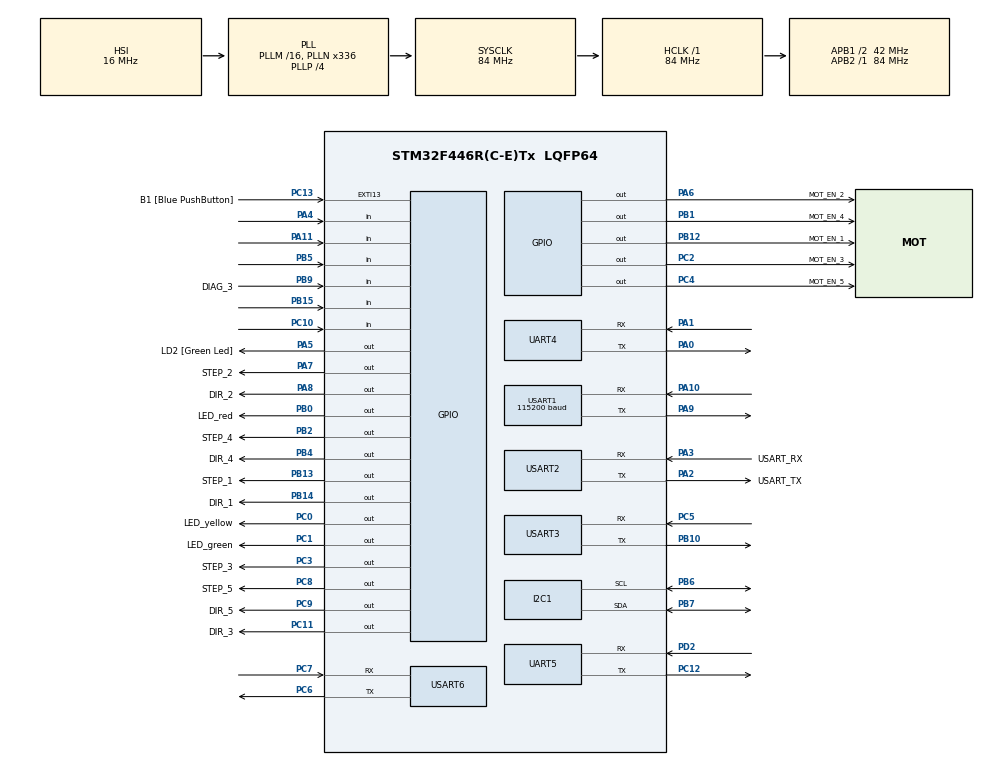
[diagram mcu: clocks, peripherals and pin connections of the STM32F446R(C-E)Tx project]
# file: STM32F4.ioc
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Mcu.Family=STM32F4
Mcu.Name=STM32F446R(C-E)Tx
Mcu.Package=LQFP64
NVIC.EXTI15_10_IRQn=true\:0\:0\:false\:false\:true\:true\:true\:true
NVIC.PriorityGroup=NVIC_PRIORITYGROUP_0
NVIC.TIM1_BRK_TIM9_IRQn=true\:0\:0\:false\:false\:true\:true\:true\:true
NVIC.TIM1_UP_TIM10_IRQn=true\:0\:0\:false\:false\:true\:true\:true\:true
NVIC.TIM3_IRQn=true\:0\:0\:false\:false\:true\:true\:true\:true
NVIC.TIM4_IRQn=true\:0\:0\:false\:false\:true\:true\:true\:true
NVIC.TIM6_DAC_IRQn=true\:0\:0\:false\:false\:true\:true\:true\:true
NVIC.TIM7_IRQn=true\:0\:0\:false\:false\:true\:true\:true\:true
NVIC.TIM8_BRK_TIM12_IRQn=true\:0\:0\:false\:false\:true\:true\:true\:true
NVIC.TIM8_CC_IRQn=true\:0\:0\:false\:false\:true\:true\:true\:true
NVIC.TIM8_UP_TIM13_IRQn=true\:0\:0\:false\:false\:true\:true\:true\:true
NVIC.USART2_IRQn=true\:0\:0\:false\:false\:true\:true\:true\:true
PA0-WKUP.Mode=Asynchronous
PA0-WKUP.Signal=UART4_TX
PA1.Mode=Asynchronous
PA1.Signal=UART4_RX
PA10.Mode=Asynchronous
PA10.Signal=USART1_RX
PA11.Signal=GPIO_Input
PA13.GPIO_Label=TMS
PA13.Mode=Serial_Wire
PA13.Signal=SYS_JTMS-SWDIO
PA14.GPIO_Label=TCK
PA14.Mode=Serial_Wire
PA14.Signal=SYS_JTCK-SWCLK
PA2.GPIO_Label=USART_TX
PA2.GPIO_ModeDefaultOD=GPIO_MODE_AF_OD
PA2.GPIO_PuPd=GPIO_NOPULL
PA2.Mode=Asynchronous
PA2.Signal=USART2_TX
PA3.GPIO_Label=USART_RX
PA3.Mode=Asynchronous
PA3.Signal=USART2_RX
PA4.Signal=GPIO_Input
PA5.GPIO_Label=LD2 [Green Led]
PA5.Signal=GPIO_Output
PA6.GPIO_Label=MOT_EN_2
PA6.Signal=GPIO_Output
PA7.GPIO_Label=STEP_2
PA7.Signal=GPIO_Output
PA8.GPIO_Label=DIR_2
PA8.Signal=GPIO_Output
PA9.GPIO_PuPd=GPIO_NOPULL
PA9.Mode=Asynchronous
PA9.Signal=USART1_TX
PB0.GPIO_Label=LED_red
PB0.Signal=GPIO_Output
PB1.GPIO_Label=MOT_EN_4
PB1.Signal=GPIO_Output
PB10.Mode=Asynchronous
PB10.Signal=USART3_TX
PB12.GPIO_Label=MOT_EN_1
PB12.Signal=GPIO_Output
PB13.GPIO_Label=STEP_1
PB13.Signal=GPIO_Output
PB14.GPIO_Label=DIR_1
PB14.Signal=GPIO_Output
PB15.Signal=GPIO_Input
PB2.GPIO_Label=STEP_4
PB2.Signal=GPIO_Output
PB3.GPIO_Label=SWO
PB3.Signal=SYS_JTDO-SWO
PB4.GPIO_Label=DIR_4
PB4.Signal=GPIO_Output
PB5.Signal=GPIO_Input
PB6.Mode=I2C
PB6.Signal=I2C1_SCL
PB7.Mode=I2C
PB7.Signal=I2C1_SDA
PB9.GPIO_Label=DIAG_3
PB9.Signal=GPIO_Input
PC0.GPIO_Label=LED_yellow
PC0.Signal=GPIO_Output
PC1.GPIO_Label=LED_green
PC1.Signal=GPIO_Output
PC10.Signal=GPIO_Input
PC11.GPIO_Label=DIR_3
PC11.Signal=GPIO_Output
PC12.Mode=Asynchronous
PC12.Signal=UART5_TX
PC13.GPIO_Label=B1 [Blue PushButton]
PC13.GPIO_ModeDefaultEXTI=GPIO_MODE_IT_RISING
PC13.Signal=GPXTI13
PC14-OSC32_IN.Mode=LSE-External-Oscillator
PC14-OSC32_IN.Signal=RCC_OSC32_IN
PC15-OSC32_OUT.Mode=LSE-External-Oscillator
PC15-OSC32_OUT.Signal=RCC_OSC32_OUT
PC2.GPIO_Label=MOT_EN_3
PC2.Signal=GPIO_Output
PC3.GPIO_Label=STEP_3
PC3.Signal=GPIO_Output
PC4.GPIO_Label=MOT_EN_5
PC4.Signal=GPIO_Output
PC5.Mode=Asynchronous
PC5.Signal=USART3_RX
PC6.Mode=Asynchronous
PC6.Signal=USART6_TX
PC7.Mode=Asynchronous
PC7.Signal=USART6_RX
PC8.GPIO_Label=STEP_5
PC8.Signal=GPIO_Output
PC9.GPIO_Label=DIR_5
PC9.Signal=GPIO_Output
PD2.Mode=Asynchronous
PD2.Signal=UART5_RX
PH0-OSC_IN.Mode=HSE-External-Oscillator
PH0-OSC_IN.Signal=RCC_OSC_IN
PH1-OSC_OUT.Mode=HSE-External-Oscillator
PH1-OSC_OUT.Signal=RCC_OSC_OUT
ProjectManager.HeapSize=0x200
ProjectManager.StackSize=0x400
ProjectManager.TargetToolchain=STM32CubeIDE
RCC.48MHZClocksFreq_Value=84000000
RCC.AHBFreq_Value=84000000
RCC.APB1CLKDivider=RCC_HCLK_DIV2
RCC.APB1Freq_Value=42000000
RCC.APB1TimFreq_Value=84000000
RCC.APB2Freq_Value=84000000
RCC.APB2TimFreq_Value=84000000
RCC.CortexFreq_Value=84000000
RCC.FLatency-AdvancedSettings=FLASH_LATENCY_2
RCC.HCLKFreq_Value=84000000
RCC.HSE_VALUE=8000000
RCC.HSI_VALUE=16000000
RCC.PLLN=336
RCC.PLLP=RCC_PLLP_DIV4
RCC.SYSCLKFreq_VALUE=84000000
RCC.SYSCLKSource=RCC_SYSCLKSOURCE_PLLCLK
RCC.USBFreq_Value=168000000
RCC.VCOOutputFreq_Value=336000000
TIM1.Period=999
TIM1.Prescaler=83
TIM10.Period=999
TIM10.Prescaler=839
TIM12.Channel-Output\ Compare1\ No\ Output=TIM_CHANNEL_1
TIM12.Prescaler=41
TIM13.Channel=TIM_CHANNEL_1
TIM13.Prescaler=41
TIM3.Channel-Output\ Compare1\ No\ Output=TIM_CHANNEL_1
TIM3.Prescaler=41
TIM4.Channel-Output\ Compare1\ No\ Output=TIM_CHANNEL_1
TIM4.Prescaler=41
TIM6.Period=999
TIM6.Prescaler=839
TIM7.Period=999
TIM7.Prescaler=839
TIM8.Channel-Output\ Compare1\ No\ Output=TIM_CHANNEL_1
TIM8.Prescaler=41
TIM9.Period=999
TIM9.Prescaler=839
UART4.VirtualMode=Asynchronous
UART5.VirtualMode=Asynchronous
USART1.BaudRate=115200
USART1.VirtualMode=VM_ASYNC
USART2.VirtualMode=VM_ASYNC
USART3.VirtualMode=VM_ASYNC
USART6.VirtualMode=VM_ASYNC
VP_TIM10_VS_ClockSourceINT.Mode=Enable_Timer
VP_TIM12_VS_ClockSourceINT.Mode=Internal
VP_TIM12_VS_no_output1.Mode=Output Compare1 No Output
VP_TIM13_VS_ClockSourceINT.Mode=Enable_Timer
VP_TIM13_VS_no_output1.Mode=Output Compare1 No Output
VP_TIM1_VS_ClockSourceINT.Mode=Internal
VP_TIM3_VS_ClockSourceINT.Mode=Internal
VP_TIM3_VS_no_output1.Mode=Output Compare1 No Output
VP_TIM4_VS_ClockSourceINT.Mode=Internal
VP_TIM4_VS_no_output1.Mode=Output Compare1 No Output
VP_TIM6_VS_ClockSourceINT.Mode=Enable_Timer
VP_TIM7_VS_ClockSourceINT.Mode=Enable_Timer
VP_TIM8_VS_ClockSourceINT.Mode=Internal
VP_TIM8_VS_no_output1.Mode=Output Compare1 No Output
VP_TIM9_VS_ClockSourceINT.Mode=Internal
board=NUCLEO-F446RE

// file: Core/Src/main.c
/* USER CODE BEGIN Header */
/**
  ******************************************************************************
  * @file           : main.c
  * @brief          : Main program body
  ******************************************************************************
  * @attention
  *
  * Copyright (c) 2025 STMicroelectronics.
  * All rights reserved.
  *
  * This software is licensed under terms that can be found in the LICENSE file
  * in the root directory of this software component.
  * If no LICENSE file comes with this software, it is provided AS-IS.
  *
  ******************************************************************************
  */
/* USER CODE END Header */
#include "main.h"

/* USER CODE BEGIN Includes */
#include "motor/motor_init.h"
#include "motor/motor_types.h"
#include "motor/motor_control.h"
#include "motor/status_check.h"
/* USER CODE END Includes */

/* USER CODE BEGIN PD */

#define MOTOR_COUNT 5
/* USER CODE END PD */

I2C_HandleTypeDef hi2c1;

TIM_HandleTypeDef htim1;
TIM_HandleTypeDef htim3;
TIM_HandleTypeDef htim4;
TIM_HandleTypeDef htim6;
TIM_HandleTypeDef htim7;
TIM_HandleTypeDef htim8;
TIM_HandleTypeDef htim9;
TIM_HandleTypeDef htim10;
TIM_HandleTypeDef htim12;
TIM_HandleTypeDef htim13;

UART_HandleTypeDef huart4;
UART_HandleTypeDef huart5;
UART_HandleTypeDef huart1;
UART_HandleTypeDef huart2;
UART_HandleTypeDef huart3;
UART_HandleTypeDef huart6;

/* USER CODE BEGIN PV */
motor_t *motors[MOTOR_COUNT];
uint8_t start_flag;
/* USER CODE END PV */

void SystemClock_Config(void);
static void MX_GPIO_Init(void);
static void MX_USART2_UART_Init(void);
static void MX_USART1_UART_Init(void);
static void MX_I2C1_Init(void);
static void MX_UART4_Init(void);
static void MX_TIM3_Init(void);
static void MX_TIM4_Init(void);
static void MX_TIM9_Init(void);
static void MX_TIM8_Init(void);
static void MX_TIM12_Init(void);
static void MX_TIM13_Init(void);
static void MX_TIM1_Init(void);
static void MX_TIM6_Init(void);
static void MX_TIM7_Init(void);
static void MX_TIM10_Init(void);
static void MX_UART5_Init(void);
static void MX_USART3_UART_Init(void);
static void MX_USART6_UART_Init(void);
/* USER CODE BEGIN PFP */

#define PUTCHAR_PROTOTYPE int __io_putchar(int ch)
/* USER CODE END PFP */

int main(void)
{

  /* USER CODE BEGIN 1 */
	motor_t motor1;
	motor_t motor2;
	motor_t motor3;
	motor_t motor4;
	motor_t motor5;
	motors[0] = &motor1;
	motors[1] = &motor2;
	motors[2] = &motor3;
	motors[3] = &motor4;
	motors[4] = &motor5;

	tmc2209_stepper_driver_t driver1;
	tmc2209_stepper_driver_t driver2;
	tmc2209_stepper_driver_t driver3;
	tmc2209_stepper_driver_t driver4;
	tmc2209_stepper_driver_t driver5;

	motors[0]->driver = &driver1;
	motors[1]->driver = &driver2;
	motors[2]->driver = &driver3;
	motors[3]->driver = &driver4;
	motors[4]->driver = &driver5;

  /* USER CODE END 1 */

  /* MCU Configuration--------------------------------------------------------*/

  /* Reset of all peripherals, Initializes the Flash interface and the Systick. */
  HAL_Init();

  /* Configure the system clock */
  SystemClock_Config();

  /* Initialize all configured peripherals */
  MX_GPIO_Init();
  MX_USART2_UART_Init();
  MX_USART1_UART_Init();
  MX_I2C1_Init();
  MX_UART4_Init();
  MX_TIM3_Init();
  MX_TIM4_Init();
  MX_TIM9_Init();
  MX_TIM8_Init();
  MX_TIM12_Init();
  MX_TIM13_Init();
  MX_TIM1_Init();
  MX_TIM6_Init();
  MX_TIM7_Init();
  MX_TIM10_Init();
  MX_UART5_Init();
  MX_USART3_UART_Init();
  MX_USART6_UART_Init();
  /* USER CODE BEGIN 2 */
  initAllMotors(MODE_5_UART);

  while(start_flag == 0);

  goHome();

  moveToCoordinates(190, -70, 205, 90);
  moveToCoordinates(190, -70, 145, 90);

  grip();

  moveToCoordinates(190, -70, 205, 90);

  moveToCoordinates(165, 40, 205, 90);
  moveToCoordinates(165, 40, 95, 90);

  openGripper();

  moveToCoordinates(160, 30, 205, 90);

  moveToCoordinates(390, -70, 205, 90); // this coordinate not reachable

//  HAL_Delay(2000);
//////
//  moveToCoordinates(190, -70, 205, 90);
////  HAL_Delay(2000);
//////
//  moveToCoordinates(190, -70, 145, 90);
//  grip();
//  moveToCoordinates(190, -70, 205, 90);
//  HAL_Delay(2000);

//  moveDegrees(20, &motor2);
//
//  while(motor2.active_movement_flag)
//  {
//	  checkDriverStatus(&motor2);
//  }

  /* USER CODE END 2 */

  /* Infinite loop */
  /* USER CODE BEGIN WHILE */
  while (1)
  {
//	  checkAllDrivers();

    /* USER CODE END WHILE */

  }
}

void SystemClock_Config(void)
{
  RCC_OscInitTypeDef RCC_OscInitStruct = {0};
  RCC_ClkInitTypeDef RCC_ClkInitStruct = {0};

  /** Configure the main internal regulator output voltage
  */
  __HAL_RCC_PWR_CLK_ENABLE();
  __HAL_PWR_VOLTAGESCALING_CONFIG(PWR_REGULATOR_VOLTAGE_SCALE3);

  /** Initializes the RCC Oscillators according to the specified parameters
  * in the RCC_OscInitTypeDef structure.
  */
  RCC_OscInitStruct.OscillatorType = RCC_OSCILLATORTYPE_HSI;
  RCC_OscInitStruct.HSIState = RCC_HSI_ON;
  RCC_OscInitStruct.HSICalibrationValue = RCC_HSICALIBRATION_DEFAULT;
  RCC_OscInitStruct.PLL.PLLState = RCC_PLL_ON;
  RCC_OscInitStruct.PLL.PLLSource = RCC_PLLSOURCE_HSI;
  RCC_OscInitStruct.PLL.PLLM = 16;
  RCC_OscInitStruct.PLL.PLLN = 336;
  RCC_OscInitStruct.PLL.PLLP = RCC_PLLP_DIV4;
  RCC_OscInitStruct.PLL.PLLQ = 2;
  RCC_OscInitStruct.PLL.PLLR = 2;
  if (HAL_RCC_OscConfig(&RCC_OscInitStruct) != HAL_OK)
  {
    Error_Handler();
  }

  /** Initializes the CPU, AHB and APB buses clocks
  */
  RCC_ClkInitStruct.ClockType = RCC_CLOCKTYPE_HCLK|RCC_CLOCKTYPE_SYSCLK
                              |RCC_CLOCKTYPE_PCLK1|RCC_CLOCKTYPE_PCLK2;
  RCC_ClkInitStruct.SYSCLKSource = RCC_SYSCLKSOURCE_PLLCLK;
  RCC_ClkInitStruct.AHBCLKDivider = RCC_SYSCLK_DIV1;
  RCC_ClkInitStruct.APB1CLKDivider = RCC_HCLK_DIV2;
  RCC_ClkInitStruct.APB2CLKDivider = RCC_HCLK_DIV1;

  if (HAL_RCC_ClockConfig(&RCC_ClkInitStruct, FLASH_LATENCY_2) != HAL_OK)
  {
    Error_Handler();
  }
}

static void MX_I2C1_Init(void)
{

  hi2c1.Instance = I2C1;
  hi2c1.Init.ClockSpeed = 100000;
  hi2c1.Init.DutyCycle = I2C_DUTYCYCLE_2;
  hi2c1.Init.OwnAddress1 = 0;
  hi2c1.Init.AddressingMode = I2C_ADDRESSINGMODE_7BIT;
  hi2c1.Init.DualAddressMode = I2C_DUALADDRESS_DISABLE;
  hi2c1.Init.OwnAddress2 = 0;
  hi2c1.Init.GeneralCallMode = I2C_GENERALCALL_DISABLE;
  hi2c1.Init.NoStretchMode = I2C_NOSTRETCH_DISABLE;
  if (HAL_I2C_Init(&hi2c1) != HAL_OK)
  {
    Error_Handler();
  }

}

static void MX_TIM1_Init(void)
{

  TIM_ClockConfigTypeDef sClockSourceConfig = {0};
  TIM_MasterConfigTypeDef sMasterConfig = {0};

  htim1.Instance = TIM1;
  htim1.Init.Prescaler = 83;
  htim1.Init.CounterMode = TIM_COUNTERMODE_UP;
  htim1.Init.Period = 999;
  htim1.Init.ClockDivision = TIM_CLOCKDIVISION_DIV1;
  htim1.Init.RepetitionCounter = 0;
  htim1.Init.AutoReloadPreload = TIM_AUTORELOAD_PRELOAD_DISABLE;
  if (HAL_TIM_Base_Init(&htim1) != HAL_OK)
  {
    Error_Handler();
  }
  sClockSourceConfig.ClockSource = TIM_CLOCKSOURCE_INTERNAL;
  if (HAL_TIM_ConfigClockSource(&htim1, &sClockSourceConfig) != HAL_OK)
  {
    Error_Handler();
  }
  sMasterConfig.MasterOutputTrigger = TIM_TRGO_RESET;
  sMasterConfig.MasterSlaveMode = TIM_MASTERSLAVEMODE_DISABLE;
  if (HAL_TIMEx_MasterConfigSynchronization(&htim1, &sMasterConfig) != HAL_OK)
  {
    Error_Handler();
  }

}

static void MX_TIM3_Init(void)
{

  TIM_ClockConfigTypeDef sClockSourceConfig = {0};
  TIM_MasterConfigTypeDef sMasterConfig = {0};
  TIM_OC_InitTypeDef sConfigOC = {0};

  htim3.Instance = TIM3;
  htim3.Init.Prescaler = 41;
  htim3.Init.CounterMode = TIM_COUNTERMODE_UP;
  htim3.Init.Period = 65535;
  htim3.Init.ClockDivision = TIM_CLOCKDIVISION_DIV1;
  htim3.Init.AutoReloadPreload = TIM_AUTORELOAD_PRELOAD_DISABLE;
  if (HAL_TIM_Base_Init(&htim3) != HAL_OK)
  {
    Error_Handler();
  }
  sClockSourceConfig.ClockSource = TIM_CLOCKSOURCE_INTERNAL;
  if (HAL_TIM_ConfigClockSource(&htim3, &sClockSourceConfig) != HAL_OK)
  {
    Error_Handler();
  }
  if (HAL_TIM_OC_Init(&htim3) != HAL_OK)
  {
    Error_Handler();
  }
  sMasterConfig.MasterOutputTrigger = TIM_TRGO_RESET;
  sMasterConfig.MasterSlaveMode = TIM_MASTERSLAVEMODE_DISABLE;
  if (HAL_TIMEx_MasterConfigSynchronization(&htim3, &sMasterConfig) != HAL_OK)
  {
    Error_Handler();
  }
  sConfigOC.OCMode = TIM_OCMODE_TIMING;
  sConfigOC.Pulse = 0;
  sConfigOC.OCPolarity = TIM_OCPOLARITY_HIGH;
  sConfigOC.OCFastMode = TIM_OCFAST_DISABLE;
  if (HAL_TIM_OC_ConfigChannel(&htim3, &sConfigOC, TIM_CHANNEL_1) != HAL_OK)
  {
    Error_Handler();
  }

}

static void MX_TIM4_Init(void)
{

  TIM_ClockConfigTypeDef sClockSourceConfig = {0};
  TIM_MasterConfigTypeDef sMasterConfig = {0};
  TIM_OC_InitTypeDef sConfigOC = {0};

  htim4.Instance = TIM4;
  htim4.Init.Prescaler = 41;
  htim4.Init.CounterMode = TIM_COUNTERMODE_UP;
  htim4.Init.Period = 65535;
  htim4.Init.ClockDivision = TIM_CLOCKDIVISION_DIV1;
  htim4.Init.AutoReloadPreload = TIM_AUTORELOAD_PRELOAD_DISABLE;
  if (HAL_TIM_Base_Init(&htim4) != HAL_OK)
  {
    Error_Handler();
  }
  sClockSourceConfig.ClockSource = TIM_CLOCKSOURCE_INTERNAL;
  if (HAL_TIM_ConfigClockSource(&htim4, &sClockSourceConfig) != HAL_OK)
  {
    Error_Handler();
  }
  if (HAL_TIM_OC_Init(&htim4) != HAL_OK)
  {
    Error_Handler();
  }
  sMasterConfig.MasterOutputTrigger = TIM_TRGO_RESET;
  sMasterConfig.MasterSlaveMode = TIM_MASTERSLAVEMODE_DISABLE;
  if (HAL_TIMEx_MasterConfigSynchronization(&htim4, &sMasterConfig) != HAL_OK)
  {
    Error_Handler();
  }
  sConfigOC.OCMode = TIM_OCMODE_TIMING;
  sConfigOC.Pulse = 0;
  sConfigOC.OCPolarity = TIM_OCPOLARITY_HIGH;
  sConfigOC.OCFastMode = TIM_OCFAST_DISABLE;
  if (HAL_TIM_OC_ConfigChannel(&htim4, &sConfigOC, TIM_CHANNEL_1) != HAL_OK)
  {
    Error_Handler();
  }

}

static void MX_TIM6_Init(void)
{

  TIM_MasterConfigTypeDef sMasterConfig = {0};

  htim6.Instance = TIM6;
  htim6.Init.Prescaler = 839;
  htim6.Init.CounterMode = TIM_COUNTERMODE_UP;
  htim6.Init.Period = 999;
  htim6.Init.AutoReloadPreload = TIM_AUTORELOAD_PRELOAD_DISABLE;
  if (HAL_TIM_Base_Init(&htim6) != HAL_OK)
  {
    Error_Handler();
  }
  sMasterConfig.MasterOutputTrigger = TIM_TRGO_RESET;
  sMasterConfig.MasterSlaveMode = TIM_MASTERSLAVEMODE_DISABLE;
  if (HAL_TIMEx_MasterConfigSynchronization(&htim6, &sMasterConfig) != HAL_OK)
  {
    Error_Handler();
  }

}

static void MX_TIM7_Init(void)
{

  TIM_MasterConfigTypeDef sMasterConfig = {0};

  htim7.Instance = TIM7;
  htim7.Init.Prescaler = 839;
  htim7.Init.CounterMode = TIM_COUNTERMODE_UP;
  htim7.Init.Period = 999;
  htim7.Init.AutoReloadPreload = TIM_AUTORELOAD_PRELOAD_DISABLE;
  if (HAL_TIM_Base_Init(&htim7) != HAL_OK)
  {
    Error_Handler();
  }
  sMasterConfig.MasterOutputTrigger = TIM_TRGO_RESET;
  sMasterConfig.MasterSlaveMode = TIM_MASTERSLAVEMODE_DISABLE;
  if (HAL_TIMEx_MasterConfigSynchronization(&htim7, &sMasterConfig) != HAL_OK)
  {
    Error_Handler();
  }

}

static void MX_TIM8_Init(void)
{

  TIM_ClockConfigTypeDef sClockSourceConfig = {0};
  TIM_MasterConfigTypeDef sMasterConfig = {0};
  TIM_OC_InitTypeDef sConfigOC = {0};
  TIM_BreakDeadTimeConfigTypeDef sBreakDeadTimeConfig = {0};

  htim8.Instance = TIM8;
  htim8.Init.Prescaler = 41;
  htim8.Init.CounterMode = TIM_COUNTERMODE_UP;
  htim8.Init.Period = 65535;
  htim8.Init.ClockDivision = TIM_CLOCKDIVISION_DIV1;
  htim8.Init.RepetitionCounter = 0;
  htim8.Init.AutoReloadPreload = TIM_AUTORELOAD_PRELOAD_DISABLE;
  if (HAL_TIM_Base_Init(&htim8) != HAL_OK)
  {
    Error_Handler();
  }
  sClockSourceConfig.ClockSource = TIM_CLOCKSOURCE_INTERNAL;
  if (HAL_TIM_ConfigClockSource(&htim8, &sClockSourceConfig) != HAL_OK)
  {
    Error_Handler();
  }
  if (HAL_TIM_OC_Init(&htim8) != HAL_OK)
  {
    Error_Handler();
  }
  sMasterConfig.MasterOutputTrigger = TIM_TRGO_RESET;
  sMasterConfig.MasterSlaveMode = TIM_MASTERSLAVEMODE_DISABLE;
  if (HAL_TIMEx_MasterConfigSynchronization(&htim8, &sMasterConfig) != HAL_OK)
  {
    Error_Handler();
  }
  sConfigOC.OCMode = TIM_OCMODE_TIMING;
  sConfigOC.Pulse = 0;
  sConfigOC.OCPolarity = TIM_OCPOLARITY_HIGH;
  sConfigOC.OCNPolarity = TIM_OCNPOLARITY_HIGH;
  sConfigOC.OCFastMode = TIM_OCFAST_DISABLE;
  sConfigOC.OCIdleState = TIM_OCIDLESTATE_RESET;
  sConfigOC.OCNIdleState = TIM_OCNIDLESTATE_RESET;
  if (HAL_TIM_OC_ConfigChannel(&htim8, &sConfigOC, TIM_CHANNEL_1) != HAL_OK)
  {
    Error_Handler();
  }
  sBreakDeadTimeConfig.OffStateRunMode = TIM_OSSR_DISABLE;
  sBreakDeadTimeConfig.OffStateIDLEMode = TIM_OSSI_DISABLE;
  sBreakDeadTimeConfig.LockLevel = TIM_LOCKLEVEL_OFF;
  sBreakDeadTimeConfig.DeadTime = 0;
  sBreakDeadTimeConfig.BreakState = TIM_BREAK_DISABLE;
  sBreakDeadTimeConfig.BreakPolarity = TIM_BREAKPOLARITY_HIGH;
  sBreakDeadTimeConfig.AutomaticOutput = TIM_AUTOMATICOUTPUT_DISABLE;
  if (HAL_TIMEx_ConfigBreakDeadTime(&htim8, &sBreakDeadTimeConfig) != HAL_OK)
  {
    Error_Handler();
  }

}

static void MX_TIM9_Init(void)
{

  TIM_ClockConfigTypeDef sClockSourceConfig = {0};

  htim9.Instance = TIM9;
  htim9.Init.Prescaler = 839;
  htim9.Init.CounterMode = TIM_COUNTERMODE_UP;
  htim9.Init.Period = 999;
  htim9.Init.ClockDivision = TIM_CLOCKDIVISION_DIV1;
  htim9.Init.AutoReloadPreload = TIM_AUTORELOAD_PRELOAD_DISABLE;
  if (HAL_TIM_Base_Init(&htim9) != HAL_OK)
  {
    Error_Handler();
  }
  sClockSourceConfig.ClockSource = TIM_CLOCKSOURCE_INTERNAL;
  if (HAL_TIM_ConfigClockSource(&htim9, &sClockSourceConfig) != HAL_OK)
  {
    Error_Handler();
  }

}

static void MX_TIM10_Init(void)
{

  htim10.Instance = TIM10;
  htim10.Init.Prescaler = 839;
  htim10.Init.CounterMode = TIM_COUNTERMODE_UP;
  htim10.Init.Period = 999;
  htim10.Init.ClockDivision = TIM_CLOCKDIVISION_DIV1;
  htim10.Init.AutoReloadPreload = TIM_AUTORELOAD_PRELOAD_DISABLE;
  if (HAL_TIM_Base_Init(&htim10) != HAL_OK)
  {
    Error_Handler();
  }

}

static void MX_TIM12_Init(void)
{

  TIM_ClockConfigTypeDef sClockSourceConfig = {0};
  TIM_OC_InitTypeDef sConfigOC = {0};

  htim12.Instance = TIM12;
  htim12.Init.Prescaler = 41;
  htim12.Init.CounterMode = TIM_COUNTERMODE_UP;
  htim12.Init.Period = 65535;
  htim12.Init.ClockDivision = TIM_CLOCKDIVISION_DIV1;
  htim12.Init.AutoReloadPreload = TIM_AUTORELOAD_PRELOAD_DISABLE;
  if (HAL_TIM_Base_Init(&htim12) != HAL_OK)
  {
    Error_Handler();
  }
  sClockSourceConfig.ClockSource = TIM_CLOCKSOURCE_INTERNAL;
  if (HAL_TIM_ConfigClockSource(&htim12, &sClockSourceConfig) != HAL_OK)
  {
    Error_Handler();
  }
  if (HAL_TIM_OC_Init(&htim12) != HAL_OK)
  {
    Error_Handler();
  }
  sConfigOC.OCMode = TIM_OCMODE_TIMING;
  sConfigOC.Pulse = 0;
  sConfigOC.OCPolarity = TIM_OCPOLARITY_HIGH;
  sConfigOC.OCFastMode = TIM_OCFAST_DISABLE;
  if (HAL_TIM_OC_ConfigChannel(&htim12, &sConfigOC, TIM_CHANNEL_1) != HAL_OK)
  {
    Error_Handler();
  }

}

static void MX_TIM13_Init(void)
{

  TIM_OC_InitTypeDef sConfigOC = {0};

  htim13.Instance = TIM13;
  htim13.Init.Prescaler = 41;
  htim13.Init.CounterMode = TIM_COUNTERMODE_UP;
  htim13.Init.Period = 65535;
  htim13.Init.ClockDivision = TIM_CLOCKDIVISION_DIV1;
  htim13.Init.AutoReloadPreload = TIM_AUTORELOAD_PRELOAD_DISABLE;
  if (HAL_TIM_Base_Init(&htim13) != HAL_OK)
  {
    Error_Handler();
  }
  if (HAL_TIM_OC_Init(&htim13) != HAL_OK)
  {
    Error_Handler();
  }
  sConfigOC.OCMode = TIM_OCMODE_TIMING;
  sConfigOC.Pulse = 0;
  sConfigOC.OCPolarity = TIM_OCPOLARITY_HIGH;
  sConfigOC.OCFastMode = TIM_OCFAST_DISABLE;
  if (HAL_TIM_OC_ConfigChannel(&htim13, &sConfigOC, TIM_CHANNEL_1) != HAL_OK)
  {
    Error_Handler();
  }

}

static void MX_UART4_Init(void)
{

  huart4.Instance = UART4;
  huart4.Init.BaudRate = 115200;
  huart4.Init.WordLength = UART_WORDLENGTH_8B;
  huart4.Init.StopBits = UART_STOPBITS_1;
  huart4.Init.Parity = UART_PARITY_NONE;
  huart4.Init.Mode = UART_MODE_TX_RX;
  huart4.Init.HwFlowCtl = UART_HWCONTROL_NONE;
  huart4.Init.OverSampling = UART_OVERSAMPLING_16;
  if (HAL_UART_Init(&huart4) != HAL_OK)
  {
    Error_Handler();
  }

}

static void MX_UART5_Init(void)
{

  huart5.Instance = UART5;
  huart5.Init.BaudRate = 115200;
  huart5.Init.WordLength = UART_WORDLENGTH_8B;
  huart5.Init.StopBits = UART_STOPBITS_1;
  huart5.Init.Parity = UART_PARITY_NONE;
  huart5.Init.Mode = UART_MODE_TX_RX;
  huart5.Init.HwFlowCtl = UART_HWCONTROL_NONE;
  huart5.Init.OverSampling = UART_OVERSAMPLING_16;
  if (HAL_UART_Init(&huart5) != HAL_OK)
  {
    Error_Handler();
  }

}

static void MX_USART1_UART_Init(void)
{

  huart1.Instance = USART1;
  huart1.Init.BaudRate = 115200;
  huart1.Init.WordLength = UART_WORDLENGTH_8B;
  huart1.Init.StopBits = UART_STOPBITS_1;
  huart1.Init.Parity = UART_PARITY_NONE;
  huart1.Init.Mode = UART_MODE_TX_RX;
  huart1.Init.HwFlowCtl = UART_HWCONTROL_NONE;
  huart1.Init.OverSampling = UART_OVERSAMPLING_16;
  if (HAL_UART_Init(&huart1) != HAL_OK)
  {
    Error_Handler();
  }

}

static void MX_USART2_UART_Init(void)
{

  huart2.Instance = USART2;
  huart2.Init.BaudRate = 115200;
  huart2.Init.WordLength = UART_WORDLENGTH_8B;
  huart2.Init.StopBits = UART_STOPBITS_1;
  huart2.Init.Parity = UART_PARITY_NONE;
  huart2.Init.Mode = UART_MODE_TX_RX;
  huart2.Init.HwFlowCtl = UART_HWCONTROL_NONE;
  huart2.Init.OverSampling = UART_OVERSAMPLING_16;
  if (HAL_UART_Init(&huart2) != HAL_OK)
  {
    Error_Handler();
  }

}

static void MX_USART3_UART_Init(void)
{

  huart3.Instance = USART3;
  huart3.Init.BaudRate = 115200;
  huart3.Init.WordLength = UART_WORDLENGTH_8B;
  huart3.Init.StopBits = UART_STOPBITS_1;
  huart3.Init.Parity = UART_PARITY_NONE;
  huart3.Init.Mode = UART_MODE_TX_RX;
  huart3.Init.HwFlowCtl = UART_HWCONTROL_NONE;
  huart3.Init.OverSampling = UART_OVERSAMPLING_16;
  if (HAL_UART_Init(&huart3) != HAL_OK)
  {
    Error_Handler();
  }

}

static void MX_USART6_UART_Init(void)
{

  huart6.Instance = USART6;
  huart6.Init.BaudRate = 115200;
  huart6.Init.WordLength = UART_WORDLENGTH_8B;
  huart6.Init.StopBits = UART_STOPBITS_1;
  huart6.Init.Parity = UART_PARITY_NONE;
  huart6.Init.Mode = UART_MODE_TX_RX;
  huart6.Init.HwFlowCtl = UART_HWCONTROL_NONE;
  huart6.Init.OverSampling = UART_OVERSAMPLING_16;
  if (HAL_UART_Init(&huart6) != HAL_OK)
  {
    Error_Handler();
  }

}

static void MX_GPIO_Init(void)
{
  GPIO_InitTypeDef GPIO_InitStruct = {0};

  /* GPIO Ports Clock Enable */
  __HAL_RCC_GPIOC_CLK_ENABLE();
  __HAL_RCC_GPIOH_CLK_ENABLE();
  __HAL_RCC_GPIOA_CLK_ENABLE();
  __HAL_RCC_GPIOB_CLK_ENABLE();
  __HAL_RCC_GPIOD_CLK_ENABLE();

  /*Configure GPIO pin Output Level */
  HAL_GPIO_WritePin(GPIOC, LED_yellow_Pin|LED_green_Pin|MOT_EN_3_Pin|STEP_3_Pin
                          |MOT_EN_5_Pin|STEP_5_Pin|DIR_5_Pin|DIR_3_Pin, GPIO_PIN_RESET);

  /*Configure GPIO pin Output Level */
  HAL_GPIO_WritePin(GPIOA, LD2_Pin|MOT_EN_2_Pin|STEP_2_Pin|DIR_2_Pin, GPIO_PIN_RESET);

  /*Configure GPIO pin Output Level */
  HAL_GPIO_WritePin(GPIOB, LED_red_Pin|MOT_EN_4_Pin|STEP_4_Pin|MOT_EN_1_Pin
                          |STEP_1_Pin|DIR_1_Pin|DIR_4_Pin, GPIO_PIN_RESET);

  /*Configure GPIO pin : B1_Pin */
  GPIO_InitStruct.Pin = B1_Pin;
  GPIO_InitStruct.Mode = GPIO_MODE_IT_RISING;
  GPIO_InitStruct.Pull = GPIO_NOPULL;
  HAL_GPIO_Init(B1_GPIO_Port, &GPIO_InitStruct);

  /*Configure GPIO pins : LED_yellow_Pin LED_green_Pin MOT_EN_3_Pin STEP_3_Pin
                           MOT_EN_5_Pin STEP_5_Pin DIR_5_Pin DIR_3_Pin */
  GPIO_InitStruct.Pin = LED_yellow_Pin|LED_green_Pin|MOT_EN_3_Pin|STEP_3_Pin
                          |MOT_EN_5_Pin|STEP_5_Pin|DIR_5_Pin|DIR_3_Pin;
  GPIO_InitStruct.Mode = GPIO_MODE_OUTPUT_PP;
  GPIO_InitStruct.Pull = GPIO_NOPULL;
  GPIO_InitStruct.Speed = GPIO_SPEED_FREQ_LOW;
  HAL_GPIO_Init(GPIOC, &GPIO_InitStruct);

  /*Configure GPIO pins : PA4 PA11 */
  GPIO_InitStruct.Pin = GPIO_PIN_4|GPIO_PIN_11;
  GPIO_InitStruct.Mode = GPIO_MODE_INPUT;
  GPIO_InitStruct.Pull = GPIO_NOPULL;
  HAL_GPIO_Init(GPIOA, &GPIO_InitStruct);

  /*Configure GPIO pins : LD2_Pin MOT_EN_2_Pin STEP_2_Pin DIR_2_Pin */
  GPIO_InitStruct.Pin = LD2_Pin|MOT_EN_2_Pin|STEP_2_Pin|DIR_2_Pin;
  GPIO_InitStruct.Mode = GPIO_MODE_OUTPUT_PP;
  GPIO_InitStruct.Pull = GPIO_NOPULL;
  GPIO_InitStruct.Speed = GPIO_SPEED_FREQ_LOW;
  HAL_GPIO_Init(GPIOA, &GPIO_InitStruct);

  /*Configure GPIO pins : LED_red_Pin MOT_EN_4_Pin STEP_4_Pin MOT_EN_1_Pin
                           STEP_1_Pin DIR_1_Pin DIR_4_Pin */
  GPIO_InitStruct.Pin = LED_red_Pin|MOT_EN_4_Pin|STEP_4_Pin|MOT_EN_1_Pin
                          |STEP_1_Pin|DIR_1_Pin|DIR_4_Pin;
  GPIO_InitStruct.Mode = GPIO_MODE_OUTPUT_PP;
  GPIO_InitStruct.Pull = GPIO_NOPULL;
  GPIO_InitStruct.Speed = GPIO_SPEED_FREQ_LOW;
  HAL_GPIO_Init(GPIOB, &GPIO_InitStruct);

  /*Configure GPIO pins : PB15 PB5 DIAG_3_Pin */
  GPIO_InitStruct.Pin = GPIO_PIN_15|GPIO_PIN_5|DIAG_3_Pin;
  GPIO_InitStruct.Mode = GPIO_MODE_INPUT;
  GPIO_InitStruct.Pull = GPIO_NOPULL;
  HAL_GPIO_Init(GPIOB, &GPIO_InitStruct);

  /*Configure GPIO pin : PC10 */
  GPIO_InitStruct.Pin = GPIO_PIN_10;
  GPIO_InitStruct.Mode = GPIO_MODE_INPUT;
  GPIO_InitStruct.Pull = GPIO_NOPULL;
  HAL_GPIO_Init(GPIOC, &GPIO_InitStruct);

  /* EXTI interrupt init*/
  HAL_NVIC_SetPriority(EXTI15_10_IRQn, 0, 0);
  HAL_NVIC_EnableIRQ(EXTI15_10_IRQn);

}

/* USER CODE BEGIN 4 */

void HAL_GPIO_EXTI_Callback(uint16_t GPIO_Pin)
{
	if (GPIO_Pin == B1_Pin)  // Check if User Button
	{
		start_flag = 1;
	}
}

PUTCHAR_PROTOTYPE
{
  /* Place your implementation of fputc here */
  /* e.g. write a character to the USART1 and Loop until the end of transmission */
  HAL_UART_Transmit(&huart2, (uint8_t *)&ch, 1, 0xFFFF);

  return ch;
}
/* USER CODE END 4 */

void Error_Handler(void)
{
  __disable_irq();
  while (1)
  {
  }
}
